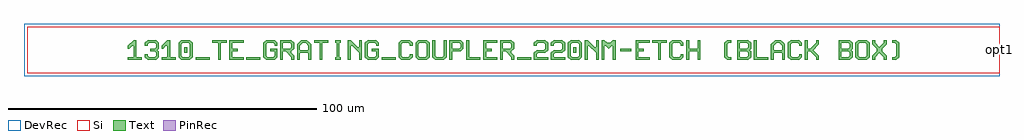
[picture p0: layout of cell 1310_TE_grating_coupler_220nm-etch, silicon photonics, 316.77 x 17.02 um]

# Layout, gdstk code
import gdstk
lib = gdstk.Library(unit=1e-6, precision=1e-09)
def R(c, l, rs):  # rectangles x0, y0, x1, y1
    for r in rs: c.add(gdstk.rectangle(r[:2], r[2:], *l))
def A(c, l, x, y, w, h, nx, ny, dx, dy):  # array of equal rectangles
    R(c, l, [(x+i*dx, y+j*dy, x+i*dx+w, y+j*dy+h) for i in range(nx) for j in range(ny)])
def P(c, l, *ps):  # polygons
    for p in ps: c.add(gdstk.Polygon(p, *l))
Si = (1, 0)
PinRec = (1, 10)
Text = (10, 0)
DevRec = (68, 0)

text = lib.new_cell('TEXT')
A(text, Text, 38.444, 0, 4.576, 0.915, 3, 1, 43.936, 0)
R(text, Text, [(21.968,0,26.544,0.915), (18.307,2.288,19.222,4.119), (144.623,2.288,145.538,4.119), (159.726,2.746,163.387,3.661)])
P(text, Text, [(0,0),(0,0.915),(1.831,0.915),(1.831,4.576),(1.373,4.576),(0.458,3.661),(0,3.661),(0,4.576),(1.831,6.407),(2.746,6.407),(2.746,0.915),(4.576,0.915),(4.576,0)],
  [(6.407,0),(5.492,0.915),(5.492,1.831),(6.407,1.831),(6.407,1.373),(6.865,0.915),(8.695,0.915),(9.153,1.373),(9.153,2.288),(8.695,2.746),(7.323,2.746),(7.323,3.661),(8.695,3.661),(9.153,4.119),(9.153,5.034),(8.695,5.492),(6.865,5.492),(6.407,5.034),(6.407,4.576),(5.492,4.576),(5.492,5.492),(6.407,6.407),(9.153,6.407),(10.068,5.492),(10.068,3.661),(9.611,3.203),(10.068,2.746),(10.068,0.915),(9.153,0)],
  [(10.984,0),(10.984,0.915),(12.815,0.915),(12.815,4.576),(12.357,4.576),(11.442,3.661),(10.984,3.661),(10.984,4.576),(12.815,6.407),(13.73,6.407),(13.73,0.915),(15.56,0.915),(15.56,0)],
  [(17.391,0),(16.476,0.915),(16.476,5.492),(17.391,6.407),(20.137,6.407),(21.052,5.492),(17.849,5.492),(17.391,5.034),(17.391,1.373),(17.849,0.915),(19.679,0.915),(20.137,1.373),(20.137,5.034),(19.679,5.492),(21.052,5.492),(21.052,0.915),(20.137,0)],
  [(29.291,0),(29.291,5.492),(27.46,5.492),(27.46,6.407),(32.036,6.407),(32.036,5.492),(30.206,5.492),(30.206,0)],
  [(32.952,0),(32.952,6.407),(37.528,6.407),(37.528,5.492),(33.867,5.492),(33.867,3.661),(35.698,3.661),(35.698,2.746),(33.867,2.746),(33.867,0.915),(37.528,0.915),(37.528,0)],
  [(44.851,0),(43.936,0.915),(43.936,5.492),(44.851,6.407),(47.597,6.407),(48.512,5.492),(48.512,4.576),(47.597,4.576),(47.597,5.034),(47.139,5.492),(45.309,5.492),(44.851,5.034),(44.851,1.373),(45.309,0.915),(47.139,0.915),(47.597,1.373),(47.597,2.746),(46.224,2.746),(46.224,3.661),(48.512,3.661),(48.512,0.915),(47.597,0)],
  [(49.428,0),(49.428,6.407),(53.089,6.407),(54.004,5.492),(50.343,5.492),(50.343,3.661),(52.631,3.661),(53.089,4.119),(53.089,5.034),(52.631,5.492),(54.004,5.492),(54.004,3.661),(53.089,2.746),(53.089,2.288),(54.004,1.373),(54.004,0),(53.089,0),(53.089,0.915),(51.259,2.746),(50.343,2.746),(50.343,0)],
  [(54.92,0),(54.92,5.034),(56.293,6.407),(58.123,6.407),(59.039,5.492),(56.751,5.492),(55.835,4.576),(55.835,3.203),(58.581,3.203),(58.581,4.576),(57.666,5.492),(59.039,5.492),(59.496,5.034),(59.496,0),(58.581,0),(58.581,2.288),(55.835,2.288),(55.835,0)],
  [(62.243,0),(62.243,5.492),(60.412,5.492),(60.412,6.407),(64.988,6.407),(64.988,5.492),(63.158,5.492),(63.158,0)],
  [(67.277,0),(67.277,0.915),(67.735,0.915),(67.735,5.492),(67.277,5.492),(67.277,6.407),(69.107,6.407),(69.107,5.492),(68.65,5.492),(68.65,0.915),(69.107,0.915),(69.107,0)],
  [(71.396,0),(71.396,6.407),(72.311,6.407),(74.599,4.119),(75.057,4.119),(75.057,6.407),(75.972,6.407),(75.972,0),(75.057,0),(75.057,2.288),(72.769,4.576),(72.311,4.576),(72.311,0)],
  [(77.803,0),(76.888,0.915),(76.888,5.492),(77.803,6.407),(80.549,6.407),(81.464,5.492),(81.464,4.576),(80.549,4.576),(80.549,5.034),(80.091,5.492),(78.261,5.492),(77.803,5.034),(77.803,1.373),(78.261,0.915),(80.091,0.915),(80.549,1.373),(80.549,2.746),(79.176,2.746),(79.176,3.661),(81.464,3.661),(81.464,0.915),(80.549,0)],
  [(88.787,0),(87.872,0.915),(87.872,5.492),(88.787,6.407),(91.533,6.407),(92.448,5.492),(92.448,4.576),(91.533,4.576),(91.533,5.034),(91.075,5.492),(89.245,5.492),(88.787,5.034),(88.787,1.373),(89.245,0.915),(91.075,0.915),(91.533,1.373),(91.533,1.831),(92.448,1.831),(92.448,0.915),(91.533,0)],
  [(94.279,0),(93.364,0.915),(93.364,5.492),(94.279,6.407),(97.025,6.407),(97.94,5.492),(97.94,3.203),(97.025,3.203),(97.025,5.034),(96.567,5.492),(94.737,5.492),(94.279,5.034),(94.279,1.373),(94.737,0.915),(96.567,0.915),(97.025,1.373),(97.025,3.203),(97.94,3.203),(97.94,0.915),(97.025,0)],
  [(99.771,0),(98.856,0.915),(98.856,6.407),(99.771,6.407),(99.771,1.373),(100.229,0.915),(102.059,0.915),(102.517,1.373),(102.517,6.407),(103.432,6.407),(103.432,0.915),(102.517,0)],
  [(104.348,0),(104.348,6.407),(108.009,6.407),(108.924,5.492),(108.924,3.661),(108.009,2.746),(105.263,2.746),(105.263,3.661),(107.551,3.661),(108.009,4.119),(108.009,5.034),(107.551,5.492),(105.263,5.492),(105.263,0)],
  [(109.84,0),(109.84,6.407),(110.755,6.407),(110.755,0.915),(114.416,0.915),(114.416,0)],
  [(115.332,0),(115.332,6.407),(119.908,6.407),(119.908,5.492),(116.247,5.492),(116.247,3.661),(118.078,3.661),(118.078,2.746),(116.247,2.746),(116.247,0.915),(119.908,0.915),(119.908,0)],
  [(120.824,0),(120.824,6.407),(124.485,6.407),(125.4,5.492),(121.739,5.492),(121.739,3.661),(124.027,3.661),(124.485,4.119),(124.485,5.034),(124.027,5.492),(125.4,5.492),(125.4,3.661),(124.485,2.746),(124.485,2.288),(125.4,1.373),(125.4,0),(124.485,0),(124.485,0.915),(122.655,2.746),(121.739,2.746),(121.739,0)],
  [(131.808,0),(131.808,2.288),(132.723,3.203),(135.011,3.203),(135.469,3.661),(135.469,5.034),(135.011,5.492),(133.181,5.492),(132.723,5.034),(132.723,4.576),(131.808,4.576),(131.808,5.492),(132.723,6.407),(135.469,6.407),(136.384,5.492),(136.384,3.203),(135.469,2.288),(133.181,2.288),(132.723,1.831),(132.723,0.915),(136.384,0.915),(136.384,0)],
  [(137.3,0),(137.3,2.288),(138.215,3.203),(140.503,3.203),(140.961,3.661),(140.961,5.034),(140.503,5.492),(138.673,5.492),(138.215,5.034),(138.215,4.576),(137.3,4.576),(137.3,5.492),(138.215,6.407),(140.961,6.407),(141.876,5.492),(141.876,3.203),(140.961,2.288),(138.673,2.288),(138.215,1.831),(138.215,0.915),(141.876,0.915),(141.876,0)],
  [(143.707,0),(142.792,0.915),(142.792,5.492),(143.707,6.407),(146.453,6.407),(147.368,5.492),(144.165,5.492),(143.707,5.034),(143.707,1.373),(144.165,0.915),(145.995,0.915),(146.453,1.373),(146.453,5.034),(145.995,5.492),(147.368,5.492),(147.368,0.915),(146.453,0)],
  [(148.284,0),(148.284,6.407),(149.199,6.407),(151.487,4.119),(151.945,4.119),(151.945,6.407),(152.86,6.407),(152.86,0),(151.945,0),(151.945,2.288),(149.657,4.576),(149.199,4.576),(149.199,0)],
  [(153.776,0),(153.776,6.407),(154.691,6.407),(155.607,5.492),(156.522,5.492),(157.437,6.407),(158.352,6.407),(158.352,0),(157.437,0),(157.437,4.576),(156.979,4.576),(156.064,3.661),(155.149,4.576),(154.691,4.576),(154.691,0)],
  [(164.76,0),(164.76,6.407),(169.336,6.407),(169.336,5.492),(165.675,5.492),(165.675,3.661),(167.506,3.661),(167.506,2.746),(165.675,2.746),(165.675,0.915),(169.336,0.915),(169.336,0)],
  [(172.083,0),(172.083,5.492),(170.252,5.492),(170.252,6.407),(174.828,6.407),(174.828,5.492),(172.998,5.492),(172.998,0)],
  [(176.659,0),(175.744,0.915),(175.744,5.492),(176.659,6.407),(179.405,6.407),(180.32,5.492),(180.32,4.576),(179.405,4.576),(179.405,5.034),(178.947,5.492),(177.117,5.492),(176.659,5.034),(176.659,1.373),(177.117,0.915),(178.947,0.915),(179.405,1.373),(179.405,1.831),(180.32,1.831),(180.32,0.915),(179.405,0)],
  [(181.236,0),(181.236,6.407),(182.151,6.407),(182.151,3.661),(184.897,3.661),(184.897,6.407),(185.812,6.407),(185.812,0),(184.897,0),(184.897,2.746),(182.151,2.746),(182.151,0)],
  [(194.508,0),(193.593,0.915),(193.593,5.492),(194.508,6.407),(195.881,6.407),(195.881,5.492),(194.966,5.492),(194.508,5.034),(194.508,1.373),(194.966,0.915),(195.881,0.915),(195.881,0)],
  [(197.712,0),(197.712,6.407),(201.373,6.407),(202.288,5.492),(198.627,5.492),(198.627,3.661),(200.915,3.661),(201.373,4.119),(201.373,5.034),(200.915,5.492),(202.288,5.492),(202.288,3.661),(201.831,3.203),(202.288,2.746),(198.627,2.746),(198.627,0.915),(200.915,0.915),(201.373,1.373),(201.373,2.288),(200.915,2.746),(202.288,2.746),(202.288,0.915),(201.373,0)],
  [(203.204,0),(203.204,6.407),(204.119,6.407),(204.119,0.915),(207.78,0.915),(207.78,0)],
  [(208.696,0),(208.696,5.034),(210.069,6.407),(211.899,6.407),(212.815,5.492),(210.527,5.492),(209.611,4.576),(209.611,3.203),(212.357,3.203),(212.357,4.576),(211.442,5.492),(212.815,5.492),(213.272,5.034),(213.272,0),(212.357,0),(212.357,2.288),(209.611,2.288),(209.611,0)],
  [(215.103,0),(214.188,0.915),(214.188,5.492),(215.103,6.407),(217.849,6.407),(218.764,5.492),(218.764,4.576),(217.849,4.576),(217.849,5.034),(217.391,5.492),(215.561,5.492),(215.103,5.034),(215.103,1.373),(215.561,0.915),(217.391,0.915),(217.849,1.373),(217.849,1.831),(218.764,1.831),(218.764,0.915),(217.849,0)],
  [(219.68,0),(219.68,6.407),(220.595,6.407),(220.595,3.661),(221.511,3.661),(223.341,5.492),(223.341,6.407),(224.256,6.407),(224.256,5.034),(222.426,3.203),(224.256,1.373),(224.256,0),(223.341,0),(223.341,0.915),(221.511,2.746),(220.595,2.746),(220.595,0)],
  [(230.664,0),(230.664,6.407),(234.325,6.407),(235.24,5.492),(231.579,5.492),(231.579,3.661),(233.867,3.661),(234.325,4.119),(234.325,5.034),(233.867,5.492),(235.24,5.492),(235.24,3.661),(234.783,3.203),(235.24,2.746),(231.579,2.746),(231.579,0.915),(233.867,0.915),(234.325,1.373),(234.325,2.288),(233.867,2.746),(235.24,2.746),(235.24,0.915),(234.325,0)],
  [(237.071,0),(236.156,0.915),(236.156,5.492),(237.071,6.407),(239.817,6.407),(240.732,5.492),(240.732,3.203),(239.817,3.203),(239.817,5.034),(239.359,5.492),(237.529,5.492),(237.071,5.034),(237.071,1.373),(237.529,0.915),(239.359,0.915),(239.817,1.373),(239.817,3.203),(240.732,3.203),(240.732,0.915),(239.817,0)],
  [(241.648,0),(241.648,1.373),(243.021,2.746),(243.021,3.661),(241.648,5.034),(241.648,6.407),(242.563,6.407),(242.563,5.492),(243.936,4.119),(245.309,5.492),(245.309,6.407),(246.224,6.407),(246.224,5.034),(244.851,3.661),(244.851,2.746),(246.224,1.373),(246.224,0),(245.309,0),(245.309,0.915),(243.936,2.288),(242.563,0.915),(242.563,0)],
  [(248.055,0),(248.055,0.915),(248.971,0.915),(249.428,1.373),(249.428,5.034),(248.971,5.492),(248.055,5.492),(248.055,6.407),(249.428,6.407),(250.343,5.492),(250.343,0.915),(249.428,0)])

c_1310_te_grating_coupler_ = lib.new_cell('1310_TE_grating_coupler_220nm-etch')
R(c_1310_te_grating_coupler_, Si, [(-157.886,-7.512,157.886,7.512)])
R(c_1310_te_grating_coupler_, DevRec, [(-158.886,-8.512,157.886,8.512)])
c_1310_te_grating_coupler_.add(gdstk.FlexPath([(157.885,0.012),(157.887,0.012)], 0.35, ends="flush", simple_path=True, layer=1, datatype=10))  # PinRec
c_1310_te_grating_coupler_.add(gdstk.Reference(text, (-125.171,-3.203)))
c_1310_te_grating_coupler_.add(gdstk.Label('opt1', (157.886,0.012), layer=1, texttype=10))

lib.write_gds('1310_TE_grating_coupler_220nm-etch.gds')
